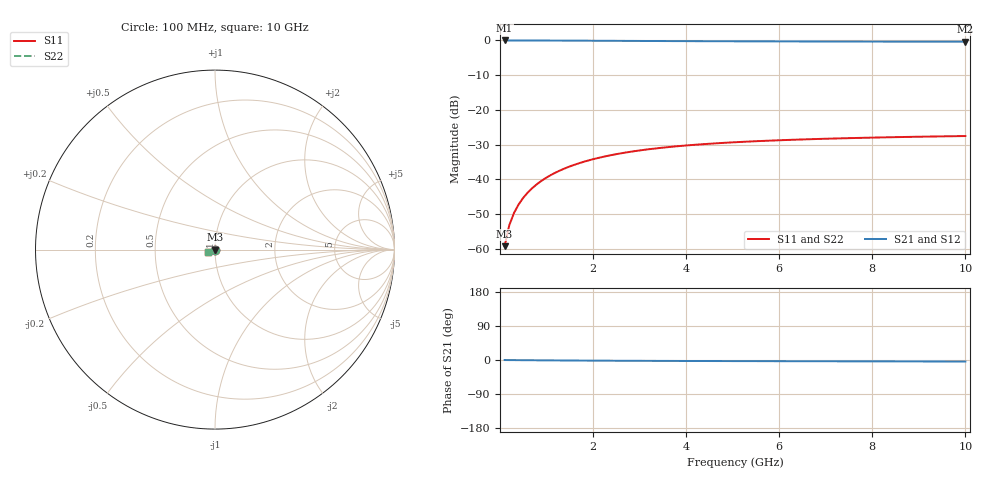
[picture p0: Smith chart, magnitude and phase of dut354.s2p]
! Touchstone file exported from HFSS 2024.1.0
!  File:  C:/UserFiles/LocalFiles/RDL_TSV_Batchsim/temp_TSV1_354_1779620397.aedt
!  Generated:  07:04:46 PM May 24, 2026
!  Design:  TSV1
!  Project:  temp_TSV1_354_1779620397
!  Setup:  Setup1
!  Solution:  Sweep
! Variables:
!  dtsv = 10.96um
!  hbump = 3um
!  htsv = 62.06um
!  lrdl = 252.1521522um
!  p = 40
!  p1 = 41.76um
!  t = 500um
!  trdl = 3um
!  wrdl = 24.89489489um
# GHz S MA R 50.000000
! Terminal data exported
! Port[1] = TSV22_T1
! Port[2] = TSV22_T2
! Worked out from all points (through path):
!   100 points, 100 MHz to 10 GHz, reference 50 ohm
!   highest |S21| = 0.00 dB at 100 MHz (marker M1); lowest = -0.4 dB at 10 GHz (marker M2)
!   lowest |S11| = -59.2 dB at 100 MHz (marker M3), VSWR 1.00, Z = 50 - j0.109 ohm
!   |S11| at or under -10 dB: start of sweep to end of sweep
!   |S22| runs from -59.2 to -27.5 dB; largest |S21 - S12| = 3.8e-15
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0.1  0.001096 -85.9  0.9999 -0.1  0.9999 -0.1  0.001096 -85.9
! Gamma 0 0 0 0
! Port Impedance 50 0 50 0
0.2  0.002186 -90.4  0.9998 -0.2  0.9998 -0.2  0.002186 -90.4
0.3  0.003276 -92.9  0.9996 -0.3  0.9996 -0.3  0.003276 -92.9
0.4  0.004362 -94.9  0.9994 -0.4  0.9994 -0.4  0.004362 -94.9
0.5  0.005441 -96.6  0.9991 -0.5  0.9991 -0.5  0.005441 -96.6
0.6  0.006511 -98.3  0.9988 -0.6  0.9988 -0.6  0.006511 -98.3
0.7  0.007568 -99.9  0.9984 -0.7  0.9984 -0.7  0.007568 -99.9
0.8  0.00861 -101.4  0.998 -0.8  0.998 -0.8  0.00861 -101.4
0.9  0.009636 -102.9  0.9975 -0.9  0.9975 -0.9  0.009636 -102.9
1.1  0.01163 -105.8  0.9965 -1.0  0.9965 -1.0  0.01163 -105.8
1.4  0.01448 -110.0  0.9947 -1.3  0.9947 -1.3  0.01448 -110.0
1.6  0.01626 -112.6  0.9933 -1.4  0.9933 -1.4  0.01626 -112.6
1.8  0.01795 -115.2  0.992 -1.5  0.992 -1.5  0.01795 -115.2
2.1  0.02031 -118.8  0.9899 -1.7  0.9899 -1.7  0.02031 -118.8
2.5  0.02312 -123.2  0.987 -2.0  0.987 -2.0  0.02312 -123.2
2.9  0.02558 -127.3  0.9843 -2.1  0.9843 -2.1  0.02558 -127.3
3.4  0.02821 -131.8  0.981 -2.4  0.981 -2.4  0.02821 -131.8
4.2  0.03158 -137.9  0.9763 -2.6  0.9763 -2.6  0.03158 -137.9
5.1  0.03445 -143.6  0.972 -2.9  0.972 -2.9  0.03445 -143.6
6.7  0.038 -151.4  0.9662 -3.3  0.9662 -3.3  0.038 -151.4
8.4  0.0405 -157.7  0.9619 -3.7  0.9619 -3.7  0.0405 -157.7
10  0.04213 -162.5  0.9591 -4.1  0.9591 -4.1  0.04213 -162.5
